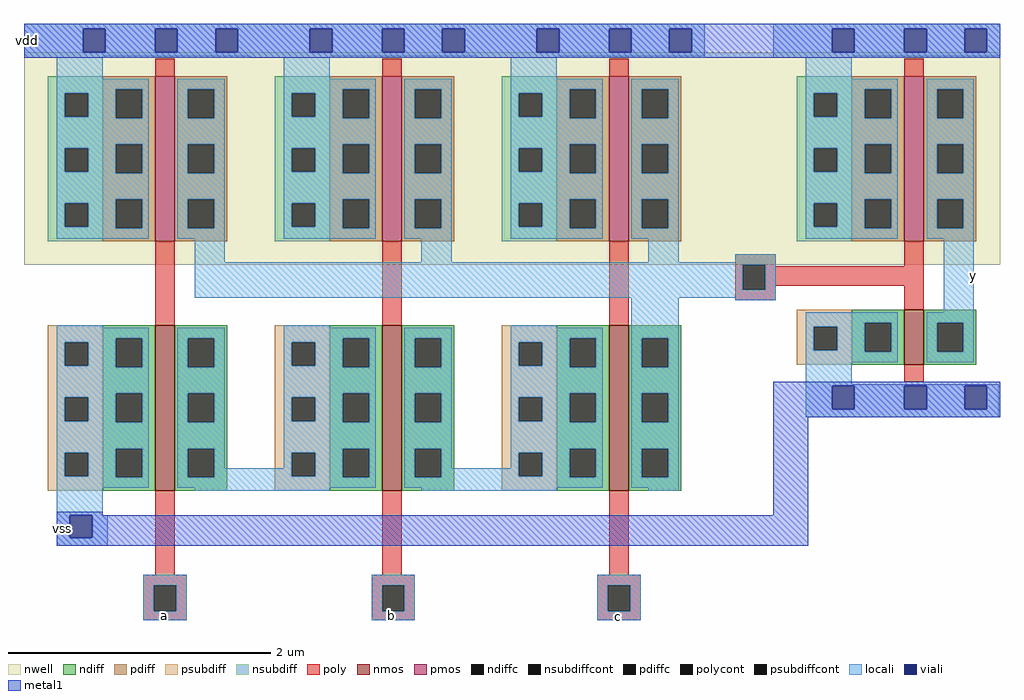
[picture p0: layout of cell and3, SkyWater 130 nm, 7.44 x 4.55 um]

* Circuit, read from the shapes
.subckt and3 a b c y vdd vss
XM1 vss a vss vss sky130_fd_pr__nfet_01v8 w=1.26 l=0.15
XM2 vss b vss vss sky130_fd_pr__nfet_01v8 w=1.26 l=0.15
XM3 n1 c vss vss sky130_fd_pr__nfet_01v8 w=1.26 l=0.15
XM4 y n1 vss vss sky130_fd_pr__nfet_01v8 w=0.42 l=0.15
XM5 n1 a vdd vdd sky130_fd_pr__pfet_01v8 w=1.26 l=0.15
XM6 n1 b vdd vdd sky130_fd_pr__pfet_01v8 w=1.26 l=0.15
XM7 n1 c vdd vdd sky130_fd_pr__pfet_01v8 w=1.26 l=0.15
XM8 y n1 vdd vdd sky130_fd_pr__pfet_01v8 w=1.26 l=0.15
.ends

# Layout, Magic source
magic
tech sky130A
<< nwell >>
rect -671 76 73 238
<< nmos >>
rect -571 -96 -556 30
rect -398 -96 -383 30
rect -225 -96 -210 30
rect 0 0 15 42
<< pmos >>
rect -571 94 -556 220
rect -398 94 -383 220
rect -225 94 -210 220
rect 0 94 15 220
<< ndiff >>
rect -611 20 -571 30
rect -611 -2 -601 20
rect -581 -2 -571 20
rect -611 -22 -571 -2
rect -611 -44 -601 -22
rect -581 -44 -571 -22
rect -611 -64 -571 -44
rect -611 -86 -601 -64
rect -581 -86 -571 -64
rect -611 -96 -571 -86
rect -556 20 -516 30
rect -556 -2 -546 20
rect -526 -2 -516 20
rect -556 -22 -516 -2
rect -556 -44 -546 -22
rect -526 -44 -516 -22
rect -556 -64 -516 -44
rect -556 -86 -546 -64
rect -526 -86 -516 -64
rect -556 -96 -516 -86
rect -438 20 -398 30
rect -438 -2 -428 20
rect -408 -2 -398 20
rect -438 -22 -398 -2
rect -438 -44 -428 -22
rect -408 -44 -398 -22
rect -438 -64 -398 -44
rect -438 -86 -428 -64
rect -408 -86 -398 -64
rect -438 -96 -398 -86
rect -383 20 -343 30
rect -383 -2 -373 20
rect -353 -2 -343 20
rect -383 -22 -343 -2
rect -383 -44 -373 -22
rect -353 -44 -343 -22
rect -383 -64 -343 -44
rect -383 -86 -373 -64
rect -353 -86 -343 -64
rect -383 -96 -343 -86
rect -265 20 -225 30
rect -265 -2 -255 20
rect -235 -2 -225 20
rect -265 -22 -225 -2
rect -265 -44 -255 -22
rect -235 -44 -225 -22
rect -265 -64 -225 -44
rect -265 -86 -255 -64
rect -235 -86 -225 -64
rect -265 -96 -225 -86
rect -210 20 -170 30
rect -210 -2 -200 20
rect -180 -2 -170 20
rect -40 32 0 42
rect -40 10 -30 32
rect -10 10 0 32
rect -40 0 0 10
rect 15 32 55 42
rect 15 10 25 32
rect 45 10 55 32
rect 15 0 55 10
rect -210 -22 -170 -2
rect -210 -44 -200 -22
rect -180 -44 -170 -22
rect -210 -64 -170 -44
rect -210 -86 -200 -64
rect -180 -86 -170 -64
rect -210 -96 -170 -86
<< pdiff >>
rect -611 210 -571 220
rect -611 188 -601 210
rect -581 188 -571 210
rect -611 168 -571 188
rect -611 146 -601 168
rect -581 146 -571 168
rect -611 126 -571 146
rect -611 104 -601 126
rect -581 104 -571 126
rect -611 94 -571 104
rect -556 210 -516 220
rect -556 188 -546 210
rect -526 188 -516 210
rect -556 168 -516 188
rect -556 146 -546 168
rect -526 146 -516 168
rect -556 126 -516 146
rect -556 104 -546 126
rect -526 104 -516 126
rect -556 94 -516 104
rect -438 210 -398 220
rect -438 188 -428 210
rect -408 188 -398 210
rect -438 168 -398 188
rect -438 146 -428 168
rect -408 146 -398 168
rect -438 126 -398 146
rect -438 104 -428 126
rect -408 104 -398 126
rect -438 94 -398 104
rect -383 210 -343 220
rect -383 188 -373 210
rect -353 188 -343 210
rect -383 168 -343 188
rect -383 146 -373 168
rect -353 146 -343 168
rect -383 126 -343 146
rect -383 104 -373 126
rect -353 104 -343 126
rect -383 94 -343 104
rect -265 210 -225 220
rect -265 188 -255 210
rect -235 188 -225 210
rect -265 168 -225 188
rect -265 146 -255 168
rect -235 146 -225 168
rect -265 126 -225 146
rect -265 104 -255 126
rect -235 104 -225 126
rect -265 94 -225 104
rect -210 210 -170 220
rect -210 188 -200 210
rect -180 188 -170 210
rect -210 168 -170 188
rect -210 146 -200 168
rect -180 146 -170 168
rect -210 126 -170 146
rect -210 104 -200 126
rect -180 104 -170 126
rect -210 94 -170 104
rect -40 210 0 220
rect -40 188 -30 210
rect -10 188 0 210
rect -40 168 0 188
rect -40 146 -30 168
rect -10 146 0 168
rect -40 126 0 146
rect -40 104 -30 126
rect -10 104 0 126
rect -40 94 0 104
rect 15 210 55 220
rect 15 188 25 210
rect 45 188 55 210
rect 15 168 55 188
rect 15 146 25 168
rect 45 146 55 168
rect 15 126 55 146
rect 15 104 25 126
rect 45 104 55 126
rect 15 94 55 104
<< ndiffc >>
rect -601 -2 -581 20
rect -601 -44 -581 -22
rect -601 -86 -581 -64
rect -546 -2 -526 20
rect -546 -44 -526 -22
rect -546 -86 -526 -64
rect -428 -2 -408 20
rect -428 -44 -408 -22
rect -428 -86 -408 -64
rect -373 -2 -353 20
rect -373 -44 -353 -22
rect -373 -86 -353 -64
rect -255 -2 -235 20
rect -255 -44 -235 -22
rect -255 -86 -235 -64
rect -200 -2 -180 20
rect -30 10 -10 32
rect 25 10 45 32
rect -200 -44 -180 -22
rect -200 -86 -180 -64
<< pdiffc >>
rect -601 188 -581 210
rect -601 146 -581 168
rect -601 104 -581 126
rect -546 188 -526 210
rect -546 146 -526 168
rect -546 104 -526 126
rect -428 188 -408 210
rect -428 146 -408 168
rect -428 104 -408 126
rect -373 188 -353 210
rect -373 146 -353 168
rect -373 104 -353 126
rect -255 188 -235 210
rect -255 146 -235 168
rect -255 104 -235 126
rect -200 188 -180 210
rect -200 146 -180 168
rect -200 104 -180 126
rect -30 188 -10 210
rect -30 146 -10 168
rect -30 104 -10 126
rect 25 188 45 210
rect 25 146 45 168
rect 25 104 45 126
<< psubdiff >>
rect -653 17 -611 30
rect -653 -1 -640 17
rect -622 -1 -611 17
rect -653 -25 -611 -1
rect -653 -43 -640 -25
rect -622 -43 -611 -25
rect -653 -67 -611 -43
rect -653 -85 -640 -67
rect -622 -85 -611 -67
rect -653 -96 -611 -85
rect -480 17 -438 30
rect -480 -1 -467 17
rect -449 -1 -438 17
rect -480 -25 -438 -1
rect -480 -43 -467 -25
rect -449 -43 -438 -25
rect -480 -67 -438 -43
rect -480 -85 -467 -67
rect -449 -85 -438 -67
rect -480 -96 -438 -85
rect -307 17 -265 30
rect -307 -1 -294 17
rect -276 -1 -265 17
rect -307 -25 -265 -1
rect -307 -43 -294 -25
rect -276 -43 -265 -25
rect -307 -67 -265 -43
rect -307 -85 -294 -67
rect -276 -85 -265 -67
rect -307 -96 -265 -85
rect -82 29 -40 42
rect -82 11 -69 29
rect -51 11 -40 29
rect -82 0 -40 11
<< nsubdiff >>
rect -653 207 -611 220
rect -653 189 -640 207
rect -622 189 -611 207
rect -653 165 -611 189
rect -653 147 -640 165
rect -622 147 -611 165
rect -653 123 -611 147
rect -653 105 -640 123
rect -622 105 -611 123
rect -653 94 -611 105
rect -480 207 -438 220
rect -480 189 -467 207
rect -449 189 -438 207
rect -480 165 -438 189
rect -480 147 -467 165
rect -449 147 -438 165
rect -480 123 -438 147
rect -480 105 -467 123
rect -449 105 -438 123
rect -480 94 -438 105
rect -307 207 -265 220
rect -307 189 -294 207
rect -276 189 -265 207
rect -307 165 -265 189
rect -307 147 -294 165
rect -276 147 -265 165
rect -307 123 -265 147
rect -307 105 -294 123
rect -276 105 -265 123
rect -307 94 -265 105
rect -82 207 -40 220
rect -82 189 -69 207
rect -51 189 -40 207
rect -82 165 -40 189
rect -82 147 -69 165
rect -51 147 -40 165
rect -82 123 -40 147
rect -82 105 -69 123
rect -51 105 -40 123
rect -82 94 -40 105
<< psubdiffcont >>
rect -640 -1 -622 17
rect -640 -43 -622 -25
rect -640 -85 -622 -67
rect -467 -1 -449 17
rect -467 -43 -449 -25
rect -467 -85 -449 -67
rect -294 -1 -276 17
rect -294 -43 -276 -25
rect -294 -85 -276 -67
rect -69 11 -51 29
<< nsubdiffcont >>
rect -640 189 -622 207
rect -640 147 -622 165
rect -640 105 -622 123
rect -467 189 -449 207
rect -467 147 -449 165
rect -467 105 -449 123
rect -294 189 -276 207
rect -294 147 -276 165
rect -294 105 -276 123
rect -69 189 -51 207
rect -69 147 -51 165
rect -69 105 -51 123
<< poly >>
rect -571 220 -556 233
rect -398 220 -383 233
rect -225 220 -210 233
rect 0 220 15 233
rect -571 30 -556 94
rect -398 30 -383 94
rect -225 30 -210 94
rect -129 76 -98 84
rect -129 57 -123 76
rect -106 75 -98 76
rect 0 75 15 94
rect -106 60 15 75
rect -106 57 -98 60
rect -129 49 -98 57
rect 0 42 15 60
rect 0 -13 15 0
rect -571 -160 -556 -96
rect -398 -160 -383 -96
rect -225 -160 -210 -96
rect -580 -168 -547 -160
rect -580 -188 -572 -168
rect -555 -188 -547 -168
rect -580 -195 -547 -188
rect -406 -168 -373 -160
rect -406 -188 -398 -168
rect -381 -188 -373 -168
rect -406 -195 -373 -188
rect -234 -168 -201 -160
rect -234 -188 -226 -168
rect -209 -188 -201 -168
rect -234 -195 -201 -188
<< polycont >>
rect -123 57 -106 76
rect -572 -188 -555 -168
rect -398 -188 -381 -168
rect -226 -188 -209 -168
<< locali >>
rect -671 256 -152 260
rect -671 238 -626 256
rect -609 238 -571 256
rect -554 238 -525 256
rect -508 238 -453 256
rect -436 238 -398 256
rect -381 238 -352 256
rect -335 238 -280 256
rect -263 238 -225 256
rect -208 238 -179 256
rect -162 238 -152 256
rect -671 235 -152 238
rect -100 256 73 260
rect -100 238 -55 256
rect -38 238 0 256
rect 17 238 46 256
rect 63 238 73 256
rect -100 235 73 238
rect -671 234 -611 235
rect -498 234 -438 235
rect -325 234 -265 235
rect -100 234 -40 235
rect -646 218 -611 234
rect -473 218 -438 234
rect -300 218 -265 234
rect -75 218 -40 234
rect -646 210 -576 218
rect -646 207 -601 210
rect -646 189 -640 207
rect -622 189 -601 207
rect -646 188 -601 189
rect -581 188 -576 210
rect -646 168 -576 188
rect -646 165 -601 168
rect -646 147 -640 165
rect -622 147 -601 165
rect -646 146 -601 147
rect -581 146 -576 168
rect -646 126 -576 146
rect -646 123 -601 126
rect -646 105 -640 123
rect -622 105 -601 123
rect -646 104 -601 105
rect -581 104 -576 126
rect -646 96 -576 104
rect -554 210 -518 218
rect -554 188 -546 210
rect -526 188 -518 210
rect -554 168 -518 188
rect -554 146 -546 168
rect -526 146 -518 168
rect -554 126 -518 146
rect -554 104 -546 126
rect -526 104 -518 126
rect -554 96 -518 104
rect -473 210 -403 218
rect -473 207 -428 210
rect -473 189 -467 207
rect -449 189 -428 207
rect -473 188 -428 189
rect -408 188 -403 210
rect -473 168 -403 188
rect -473 165 -428 168
rect -473 147 -467 165
rect -449 147 -428 165
rect -473 146 -428 147
rect -408 146 -403 168
rect -473 126 -403 146
rect -473 123 -428 126
rect -473 105 -467 123
rect -449 105 -428 123
rect -473 104 -428 105
rect -408 104 -403 126
rect -473 96 -403 104
rect -381 210 -345 218
rect -381 188 -373 210
rect -353 188 -345 210
rect -381 168 -345 188
rect -381 146 -373 168
rect -353 146 -345 168
rect -381 126 -345 146
rect -381 104 -373 126
rect -353 104 -345 126
rect -381 96 -345 104
rect -300 210 -230 218
rect -300 207 -255 210
rect -300 189 -294 207
rect -276 189 -255 207
rect -300 188 -255 189
rect -235 188 -230 210
rect -300 168 -230 188
rect -300 165 -255 168
rect -300 147 -294 165
rect -276 147 -255 165
rect -300 146 -255 147
rect -235 146 -230 168
rect -300 126 -230 146
rect -300 123 -255 126
rect -300 105 -294 123
rect -276 105 -255 123
rect -300 104 -255 105
rect -235 104 -230 126
rect -300 96 -230 104
rect -208 210 -172 218
rect -208 188 -200 210
rect -180 188 -172 210
rect -208 168 -172 188
rect -208 146 -200 168
rect -180 146 -172 168
rect -208 126 -172 146
rect -208 104 -200 126
rect -180 104 -172 126
rect -208 96 -172 104
rect -75 210 -5 218
rect -75 207 -30 210
rect -75 189 -69 207
rect -51 189 -30 207
rect -75 188 -30 189
rect -10 188 -5 210
rect -75 168 -5 188
rect -75 165 -30 168
rect -75 147 -69 165
rect -51 147 -30 165
rect -75 146 -30 147
rect -10 146 -5 168
rect -75 126 -5 146
rect -75 123 -30 126
rect -75 105 -69 123
rect -51 105 -30 123
rect -75 104 -30 105
rect -10 104 -5 126
rect -75 96 -5 104
rect 17 210 53 218
rect 17 188 25 210
rect 45 188 53 210
rect 17 168 53 188
rect 17 146 25 168
rect 45 146 53 168
rect 17 126 53 146
rect 17 104 25 126
rect 45 104 53 126
rect 17 96 53 104
rect -541 78 -518 96
rect -368 78 -345 96
rect -195 78 -172 96
rect -129 78 -98 84
rect -541 76 -98 78
rect -541 57 -123 76
rect -106 57 -98 76
rect -541 51 -98 57
rect -646 28 -611 30
rect -473 28 -438 30
rect -300 28 -265 30
rect -646 20 -576 28
rect -646 17 -601 20
rect -646 -1 -640 17
rect -622 -1 -601 17
rect -646 -2 -601 -1
rect -581 -2 -576 20
rect -646 -22 -576 -2
rect -646 -25 -601 -22
rect -646 -43 -640 -25
rect -622 -43 -601 -25
rect -646 -44 -601 -43
rect -581 -44 -576 -22
rect -646 -64 -576 -44
rect -646 -67 -601 -64
rect -646 -85 -640 -67
rect -622 -85 -601 -67
rect -646 -86 -601 -85
rect -581 -86 -576 -64
rect -646 -94 -576 -86
rect -554 20 -518 28
rect -554 -2 -546 20
rect -526 -2 -518 20
rect -554 -22 -518 -2
rect -554 -44 -546 -22
rect -526 -44 -518 -22
rect -554 -64 -518 -44
rect -554 -86 -546 -64
rect -526 -79 -518 -64
rect -473 20 -403 28
rect -473 17 -428 20
rect -473 -1 -467 17
rect -449 -1 -428 17
rect -473 -2 -428 -1
rect -408 -2 -403 20
rect -473 -22 -403 -2
rect -473 -25 -428 -22
rect -473 -43 -467 -25
rect -449 -43 -428 -25
rect -473 -44 -428 -43
rect -408 -44 -403 -22
rect -473 -64 -403 -44
rect -473 -67 -428 -64
rect -473 -79 -467 -67
rect -526 -85 -467 -79
rect -449 -85 -428 -67
rect -526 -86 -428 -85
rect -408 -86 -403 -64
rect -554 -94 -403 -86
rect -381 20 -345 28
rect -381 -2 -373 20
rect -353 -2 -345 20
rect -381 -22 -345 -2
rect -381 -44 -373 -22
rect -353 -44 -345 -22
rect -381 -64 -345 -44
rect -381 -86 -373 -64
rect -353 -79 -345 -64
rect -300 20 -230 28
rect -300 17 -255 20
rect -300 -1 -294 17
rect -276 -1 -255 17
rect -300 -2 -255 -1
rect -235 -2 -230 20
rect -300 -22 -230 -2
rect -300 -25 -255 -22
rect -300 -43 -294 -25
rect -276 -43 -255 -25
rect -300 -44 -255 -43
rect -235 -44 -230 -22
rect -300 -64 -230 -44
rect -300 -67 -255 -64
rect -300 -79 -294 -67
rect -353 -85 -294 -79
rect -276 -85 -255 -67
rect -353 -86 -255 -85
rect -235 -86 -230 -64
rect -381 -94 -230 -86
rect -208 20 -172 51
rect -129 49 -98 51
rect 30 40 53 96
rect -208 -2 -200 20
rect -180 -2 -172 20
rect -208 -22 -172 -2
rect -208 -44 -200 -22
rect -180 -44 -172 -22
rect -75 32 -5 40
rect -75 29 -30 32
rect -75 11 -69 29
rect -51 11 -30 29
rect -75 10 -30 11
rect -10 10 -5 32
rect -75 2 -5 10
rect 17 32 53 40
rect 17 10 25 32
rect 45 10 53 32
rect 17 2 53 10
rect -75 -15 -40 2
rect -75 -16 72 -15
rect -75 -34 -55 -16
rect -38 -34 0 -16
rect 17 -34 46 -16
rect 63 -34 72 -16
rect -75 -40 72 -34
rect -208 -64 -172 -44
rect -208 -86 -200 -64
rect -180 -86 -172 -64
rect -208 -94 -172 -86
rect -646 -115 -611 -94
rect -541 -96 -438 -94
rect -368 -96 -265 -94
rect -195 -96 -172 -94
rect -646 -132 -636 -115
rect -619 -132 -607 -115
rect -646 -138 -607 -132
rect -580 -168 -547 -160
rect -580 -188 -572 -168
rect -555 -188 -547 -168
rect -580 -195 -547 -188
rect -406 -168 -373 -160
rect -406 -188 -398 -168
rect -381 -188 -373 -168
rect -406 -195 -373 -188
rect -234 -168 -201 -160
rect -234 -188 -226 -168
rect -209 -188 -201 -168
rect -234 -195 -201 -188
<< viali >>
rect -626 238 -609 256
rect -571 238 -554 256
rect -525 238 -508 256
rect -453 238 -436 256
rect -398 238 -381 256
rect -352 238 -335 256
rect -280 238 -263 256
rect -225 238 -208 256
rect -179 238 -162 256
rect -55 238 -38 256
rect 0 238 17 256
rect 46 238 63 256
rect -55 -34 -38 -16
rect 0 -34 17 -16
rect 46 -34 63 -16
rect -636 -132 -619 -115
<< metal1 >>
rect -671 256 73 260
rect -671 238 -626 256
rect -609 238 -571 256
rect -554 238 -525 256
rect -508 238 -453 256
rect -436 238 -398 256
rect -381 238 -352 256
rect -335 238 -280 256
rect -263 238 -225 256
rect -208 238 -179 256
rect -162 238 -55 256
rect -38 238 0 256
rect 17 238 46 256
rect 63 238 73 256
rect -671 234 73 238
rect -100 -16 73 -13
rect -100 -34 -55 -16
rect -38 -34 0 -16
rect 17 -34 46 -16
rect 63 -34 73 -16
rect -100 -40 73 -34
rect -646 -115 -611 -112
rect -100 -115 -73 -40
rect -646 -132 -636 -115
rect -619 -132 -73 -115
rect -646 -138 -73 -132
<< labels >>
rlabel locali 53 68 53 68 1 y
port 4 n
rlabel locali -218 -192 -218 -192 1 c
port 3 n
rlabel locali -391 -191 -391 -191 1 b
port 2 n
rlabel locali -564 -191 -564 -191 1 a
port 1 n
rlabel metal1 -668 247 -668 247 3 vdd
port 5 e
rlabel metal1 -642 -125 -642 -125 1 vss
port 6 n
<< end >>
